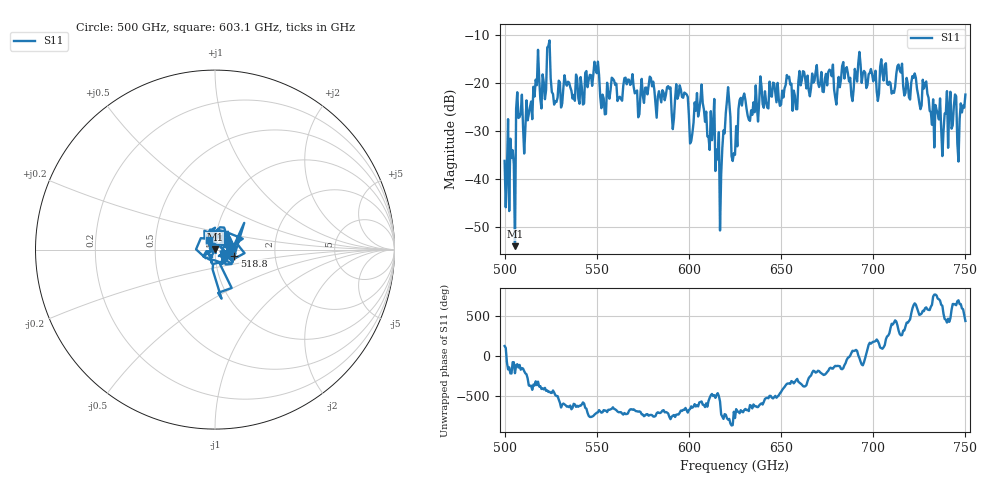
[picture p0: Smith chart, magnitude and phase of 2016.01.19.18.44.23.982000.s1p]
!Created with skrf (http://scikit-rf.org).
# GHz S RI R 50.0
!freq ReS11 ImS11
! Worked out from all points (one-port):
!   401 points, 500 GHz to 750 GHz, reference 50 ohm
!   lowest |S11| = -53.9 dB at 505.6 GHz (marker M1), VSWR 1.00, Z = 49.8 + j0.11 ohm
!   |S11| at or under -10 dB: start of sweep to end of sweep
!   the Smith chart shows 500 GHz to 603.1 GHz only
!   S11 on the Smith chart (normalised r, x): 500 GHz: 0.98, +0.03; 518.8 GHz: 1.24, -0.09; 603.1 GHz: 0.93, +0.10
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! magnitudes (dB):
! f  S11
! 500 GHz  -36.2
! 505.6 GHz  -53.9
! 507.5 GHz  -27.3
! 511.2 GHz  -29.5
! 518.8 GHz  -19.0
! 524.4 GHz  -11.2
! 526.9 GHz  -24.5
! 531.2 GHz  -24.3
! 550 GHz  -18.0
! 553.8 GHz  -23.2
! 559.4 GHz  -19.5
! 562.5 GHz  -22.9
! 593.8 GHz  -23.3
! 601.2 GHz  -32.1
! 603.1 GHz  -24.0
! 608.1 GHz  -25.5
! 616.2 GHz  -30.2
! 621.2 GHz  -20.9
! 625 GHz  -34.9
! 628.8 GHz  -24.7
! 656.2 GHz  -25.8
! 687.5 GHz  -18.9
! 714.4 GHz  -17.4
! 718.8 GHz  -20.2
! 728.1 GHz  -20.1
! 738.1 GHz  -30.1
! 746.9 GHz  -27.5
! 750 GHz  -22.4
